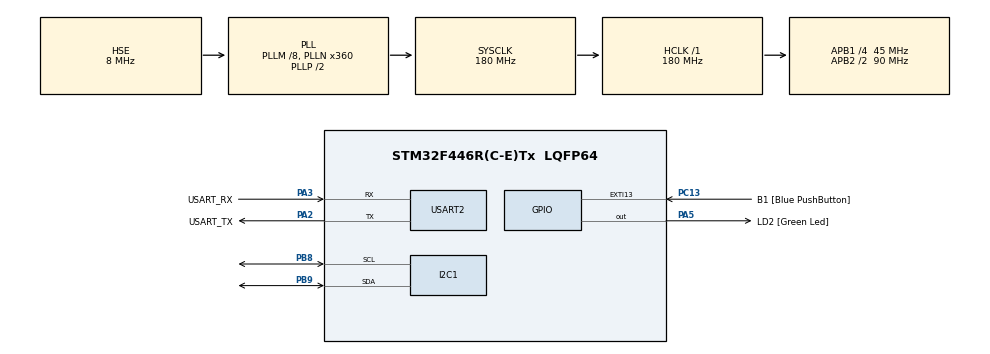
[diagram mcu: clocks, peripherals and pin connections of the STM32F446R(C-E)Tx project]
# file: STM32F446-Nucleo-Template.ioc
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Dma.I2C1_RX.1.Direction=DMA_PERIPH_TO_MEMORY
Dma.I2C1_RX.1.FIFOMode=DMA_FIFOMODE_DISABLE
Dma.I2C1_RX.1.Instance=DMA1_Stream0
Dma.I2C1_RX.1.MemDataAlignment=DMA_MDATAALIGN_BYTE
Dma.I2C1_RX.1.MemInc=DMA_MINC_ENABLE
Dma.I2C1_RX.1.Mode=DMA_NORMAL
Dma.I2C1_RX.1.PeriphDataAlignment=DMA_PDATAALIGN_BYTE
Dma.I2C1_RX.1.PeriphInc=DMA_PINC_DISABLE
Dma.I2C1_RX.1.Priority=DMA_PRIORITY_LOW
Dma.I2C1_TX.0.Direction=DMA_MEMORY_TO_PERIPH
Dma.I2C1_TX.0.FIFOMode=DMA_FIFOMODE_DISABLE
Dma.I2C1_TX.0.Instance=DMA1_Stream6
Dma.I2C1_TX.0.MemDataAlignment=DMA_MDATAALIGN_BYTE
Dma.I2C1_TX.0.MemInc=DMA_MINC_ENABLE
Dma.I2C1_TX.0.Mode=DMA_NORMAL
Dma.I2C1_TX.0.PeriphDataAlignment=DMA_PDATAALIGN_BYTE
Dma.I2C1_TX.0.PeriphInc=DMA_PINC_DISABLE
Dma.I2C1_TX.0.Priority=DMA_PRIORITY_LOW
Dma.Request0=I2C1_TX
Dma.Request1=I2C1_RX
I2C1.I2C_Mode=I2C_Fast
Mcu.Family=STM32F4
Mcu.Name=STM32F446R(C-E)Tx
Mcu.Package=LQFP64
NVIC.DMA1_Stream0_IRQn=true\:0\:0\:false\:false\:true\:false\:true
NVIC.DMA1_Stream6_IRQn=true\:0\:0\:false\:false\:true\:false\:true
NVIC.EXTI15_10_IRQn=true\:0\:0\:false\:false\:true\:true\:true
NVIC.I2C1_ER_IRQn=true\:0\:0\:false\:false\:true\:true\:true
NVIC.I2C1_EV_IRQn=true\:0\:0\:false\:false\:true\:true\:true
NVIC.PriorityGroup=NVIC_PRIORITYGROUP_0
PA13.GPIO_Label=TMS
PA13.Mode=Serial_Wire
PA13.Signal=SYS_JTMS-SWDIO
PA14.GPIO_Label=TCK
PA14.Mode=Serial_Wire
PA14.Signal=SYS_JTCK-SWCLK
PA2.GPIO_Label=USART_TX
PA2.Mode=Asynchronous
PA2.Signal=USART2_TX
PA3.GPIO_Label=USART_RX
PA3.Mode=Asynchronous
PA3.Signal=USART2_RX
PA5.GPIO_Label=LD2 [Green Led]
PA5.Signal=GPIO_Output
PB3.GPIO_Label=SWO
PB3.Signal=SYS_JTDO-SWO
PB8.Mode=I2C
PB8.Signal=I2C1_SCL
PB9.Mode=I2C
PB9.Signal=I2C1_SDA
PC13.GPIO_Label=B1 [Blue PushButton]
PC13.GPIO_ModeDefaultEXTI=GPIO_MODE_IT_FALLING
PC13.GPIO_PuPd=GPIO_PULLUP
PC13.Signal=GPXTI13
PC14-OSC32_IN.Mode=LSE-External-Oscillator
PC14-OSC32_IN.Signal=RCC_OSC32_IN
PC15-OSC32_OUT.Mode=LSE-External-Oscillator
PC15-OSC32_OUT.Signal=RCC_OSC32_OUT
PH0-OSC_IN.Mode=HSE-External-Oscillator
PH0-OSC_IN.Signal=RCC_OSC_IN
PH1-OSC_OUT.Mode=HSE-External-Oscillator
PH1-OSC_OUT.Signal=RCC_OSC_OUT
ProjectManager.HeapSize=0x200
ProjectManager.StackSize=0x400
ProjectManager.TargetToolchain=STM32CubeIDE
RCC.48MHZClocksFreq_Value=84000000
RCC.AHBFreq_Value=180000000
RCC.APB1CLKDivider=RCC_HCLK_DIV4
RCC.APB1Freq_Value=45000000
RCC.APB1TimFreq_Value=90000000
RCC.APB2CLKDivider=RCC_HCLK_DIV2
RCC.APB2Freq_Value=90000000
RCC.APB2TimFreq_Value=180000000
RCC.CortexFreq_Value=180000000
RCC.FLatency-AdvancedSettings=FLASH_LATENCY_5
RCC.HCLKFreq_Value=180000000
RCC.HSE_VALUE=8000000
RCC.HSI_VALUE=16000000
RCC.PLLM=8
RCC.PLLN=360
RCC.PLLSourceVirtual=RCC_PLLSOURCE_HSE
RCC.SYSCLKFreq_VALUE=180000000
RCC.SYSCLKSource=RCC_SYSCLKSOURCE_PLLCLK
RCC.USBFreq_Value=180000000
RCC.VCOOutputFreq_Value=360000000
USART2.VirtualMode=VM_ASYNC
board=NUCLEO-F446RE

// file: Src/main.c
/* USER CODE BEGIN Header */
/**
 ******************************************************************************
 * @file           : main.c
 * @brief          : Main program body
 ******************************************************************************
 * @attention
 *
 * <h2><center>&copy; Copyright (c) 2020 STMicroelectronics.
 * All rights reserved.</center></h2>
 *
 * This software component is licensed by ST under BSD 3-Clause license,
 * the "License"; You may not use this file except in compliance with the
 * License. You may obtain a copy of the License at:
 *                        opensource.org/licenses/BSD-3-Clause
 *
 ******************************************************************************
 */
/* USER CODE END Header */

#include "main.h"
#include "dma.h"
#include "i2c.h"
#include "usart.h"
#include "gpio.h"

/* USER CODE BEGIN Includes */
#include <stdio.h>
#include <stdlib.h>
#include <string.h>
#include <stdarg.h>
#include "board_utils.h"

/* USER CODE END Includes */

/* USER CODE BEGIN PV */
/* Private variables ---------------------------------------------------------*/

/* USER CODE END PV */

void SystemClock_Config(void);
/* USER CODE BEGIN PFP */
/* Private function prototypes -----------------------------------------------*/

void oprintf(const char *format, ...);
/* USER CODE END PFP */

/* USER CODE BEGIN 0 */
volatile uint16_t blinkDelay = 1000;
/* USER CODE END 0 */

int main(void) {
	/* USER CODE BEGIN 1 */
#ifdef BOARD_UTILITIES_IN_USE
	system_init();
#endif
	/* USER CODE END 1 */

	/* MCU Configuration--------------------------------------------------------*/

	/* Reset of all peripherals, Initializes the Flash interface and the Systick. */
	HAL_Init();

	/* Configure the system clock */
	SystemClock_Config();

	/* Initialize all configured peripherals */
	MX_GPIO_Init();
	MX_DMA_Init();
	MX_USART2_UART_Init();
	MX_I2C1_Init();
	/* USER CODE BEGIN 2 */

#ifdef BOARD_FRAM_IN_USE
	fram_init();
#endif

	oprintf("\n\n-----------------------\Startup ready\n");
	/* USER CODE END 2 */

	/* Infinite loop */
	/* USER CODE BEGIN WHILE */
	uint32_t ii = 0;
	while (1) {

		/* USER CODE END WHILE */

		/* USER CODE BEGIN 3 */
		ii++;
		HAL_Delay(1000);
		//float cfreq = bldc_get_current_frequency();
		HAL_GPIO_WritePin(LD2_GPIO_Port, LD2_Pin, SET);
		oprintf("Default MSG %d\n", ii);
		HAL_Delay(50);
		HAL_GPIO_WritePin(LD2_GPIO_Port, LD2_Pin, RESET);
	}
	/* USER CODE END 3 */
}

void SystemClock_Config(void) {
	RCC_OscInitTypeDef RCC_OscInitStruct = { 0 };
	RCC_ClkInitTypeDef RCC_ClkInitStruct = { 0 };

	/** Configure the main internal regulator output voltage
	 */
	__HAL_RCC_PWR_CLK_ENABLE();
	__HAL_PWR_VOLTAGESCALING_CONFIG(PWR_REGULATOR_VOLTAGE_SCALE1);
	/** Initializes the CPU, AHB and APB busses clocks
	 */
	RCC_OscInitStruct.OscillatorType = RCC_OSCILLATORTYPE_HSE;
	RCC_OscInitStruct.HSEState = RCC_HSE_ON;
	RCC_OscInitStruct.PLL.PLLState = RCC_PLL_ON;
	RCC_OscInitStruct.PLL.PLLSource = RCC_PLLSOURCE_HSE;
	RCC_OscInitStruct.PLL.PLLM = 8;
	RCC_OscInitStruct.PLL.PLLN = 360;
	RCC_OscInitStruct.PLL.PLLP = RCC_PLLP_DIV2;
	RCC_OscInitStruct.PLL.PLLQ = 2;
	RCC_OscInitStruct.PLL.PLLR = 2;
	if (HAL_RCC_OscConfig(&RCC_OscInitStruct) != HAL_OK) {
		Error_Handler();
	}
	/** Activate the Over-Drive mode
	 */
	if (HAL_PWREx_EnableOverDrive() != HAL_OK) {
		Error_Handler();
	}
	/** Initializes the CPU, AHB and APB busses clocks
	 */
	RCC_ClkInitStruct.ClockType = RCC_CLOCKTYPE_HCLK | RCC_CLOCKTYPE_SYSCLK
			| RCC_CLOCKTYPE_PCLK1 | RCC_CLOCKTYPE_PCLK2;
	RCC_ClkInitStruct.SYSCLKSource = RCC_SYSCLKSOURCE_PLLCLK;
	RCC_ClkInitStruct.AHBCLKDivider = RCC_SYSCLK_DIV1;
	RCC_ClkInitStruct.APB1CLKDivider = RCC_HCLK_DIV4;
	RCC_ClkInitStruct.APB2CLKDivider = RCC_HCLK_DIV2;

	if (HAL_RCC_ClockConfig(&RCC_ClkInitStruct, FLASH_LATENCY_5) != HAL_OK) {
		Error_Handler();
	}
}

/* USER CODE BEGIN 4 */

// Simple own printf for communication via USB-UART
void oprintf(const char *format, ...) {
	int len;
	va_list args;
	va_start(args, format);

	// determine how long the result will be
	len = vsnprintf(NULL, 0, format, args);

	// reserve the string and generate it.
	char tx_buf[len + 1];
	vsprintf(tx_buf, format, args);

	HAL_UART_Transmit(&huart2, (uint8_t*) tx_buf, strlen(tx_buf), 50);

	va_end(args);
}

/* USER CODE END 4 */

void Error_Handler(void) {
	while (1) {
	}
}

/************************ (C) COPYRIGHT STMicroelectronics *****END OF FILE****/
